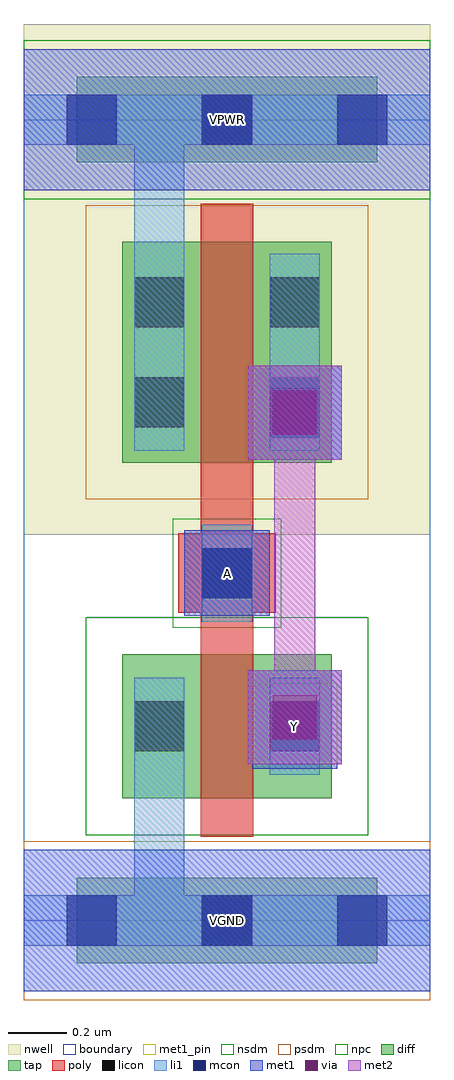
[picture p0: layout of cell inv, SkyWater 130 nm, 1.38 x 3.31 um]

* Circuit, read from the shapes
.subckt inv A VGND VPWR Y
XM1 Y A VGND VGND sky130_fd_pr__nfet_01v8 w=0.49 l=0.18
XM2 Y A VPWR VPWR sky130_fd_pr__pfet_01v8 w=0.75 l=0.18
.ends

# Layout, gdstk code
import gdstk
lib = gdstk.Library(unit=1e-6, precision=1e-09)
def R(c, l, rs):  # rectangles x0, y0, x1, y1
    for r in rs: c.add(gdstk.rectangle(r[:2], r[2:], *l))
def A(c, l, x, y, w, h, nx, ny, dx, dy):  # array of equal rectangles
    R(c, l, [(x+i*dx, y+j*dy, x+i*dx+w, y+j*dy+h) for i in range(nx) for j in range(ny)])
nwell = (64, 20)
diff = (65, 20)
tap = (65, 44)
poly = (66, 20)
licon = (66, 44)
li1 = (67, 20)
mcon = (67, 44)
met1_pin = (68, 16)
met1 = (68, 20)
via = (68, 44)
met2 = (69, 20)
nsdm = (93, 44)
psdm = (94, 20)
npc = (95, 20)
boundary = (235, 4)

inv = lib.new_cell('inv')
R(inv, nwell, [(0,1.31,1.38,3.045)])
R(inv, diff, [(0.335,0.415,1.045,0.905), (0.335,1.555,1.045,2.305)])
R(inv, tap, [(0.18,-0.145,1.2,0.145), (0.18,2.575,1.2,2.865)])
R(inv, poly, [(0.6,0.285,0.78,2.435), (0.525,1.045,0.855,1.315)])
R(inv, licon, [(0.605,-0.085,0.775,0.085), (0.375,0.575,0.545,0.745), (0.835,0.575,1.005,0.745), (0.605,1.095,0.775,1.265), (0.375,1.675,0.545,1.845), (0.835,1.675,1.005,1.845), (0.375,2.015,0.545,2.185), (0.835,2.015,1.005,2.185), (0.605,2.635,0.775,2.805)])
R(inv, li1, [(0,-0.085,1.38,0.085), (0.375,-0.085,0.545,0.825), (0.375,0.495,0.545,0.825), (0.835,0.495,1.005,0.825), (0.605,1.015,0.775,1.345), (0.375,1.595,0.545,2.265), (0.375,1.595,0.545,2.805), (0.835,1.595,1.005,2.265), (0,2.635,1.38,2.805)])
A(inv, mcon, 0.145, -0.085, 0.17, 0.17, 3, 2, 0.46, 2.72)
R(inv, mcon, [(0.835,0.575,1.005,0.745), (0.605,1.095,0.775,1.265), (0.835,1.64,1.005,1.81)])
R(inv, met1_pin, [(0,-0.24,1.38,0.24), (0.775,0.515,1.065,0.805), (0.545,1.035,0.835,1.325), (0,2.48,1.38,2.96)])
R(inv, met1, [(0,-0.24,1.38,0.24), (0.775,0.515,1.065,0.805), (0.76,0.53,1.08,0.85), (0.85,0.62,0.99,0.76), (0.545,1.035,0.835,1.325), (0.76,1.565,1.08,1.885), (0.775,1.58,1.065,1.87), (0,2.48,1.38,2.96)])
R(inv, via, [(0.845,0.615,0.995,0.765), (0.845,1.65,0.995,1.8)])
R(inv, met2, [(0.76,0.53,1.08,0.85), (0.85,0.62,0.99,1.795), (0.76,1.565,1.08,1.885)])
R(inv, nsdm, [(0.21,0.29,1.17,1.03), (0,2.45,1.38,2.99)])
R(inv, psdm, [(0,-0.27,1.38,0.27), (0.21,1.43,1.17,2.43)])
R(inv, npc, [(0.505,0.995,0.875,1.365)])
R(inv, boundary, [(0,0,1.38,2.72)])
inv.add(gdstk.Label('A', (0.69,1.18), layer=68, texttype=5))
inv.add(gdstk.Label('Y', (0.92,0.66), layer=68, texttype=5))
inv.add(gdstk.Label('VPWR', (0.69,2.72), layer=68, texttype=5))
inv.add(gdstk.Label('VGND', (0.69,0), layer=68, texttype=5))
inv.add(gdstk.Label('A', (0.69,1.18), layer=68, texttype=16))
inv.add(gdstk.Label('Y', (0.92,0.66), layer=68, texttype=16))
inv.add(gdstk.Label('VPWR', (0.69,2.72), layer=68, texttype=16))
inv.add(gdstk.Label('VGND', (0.69,0), layer=68, texttype=16))

lib.write_gds('inv.gds')
